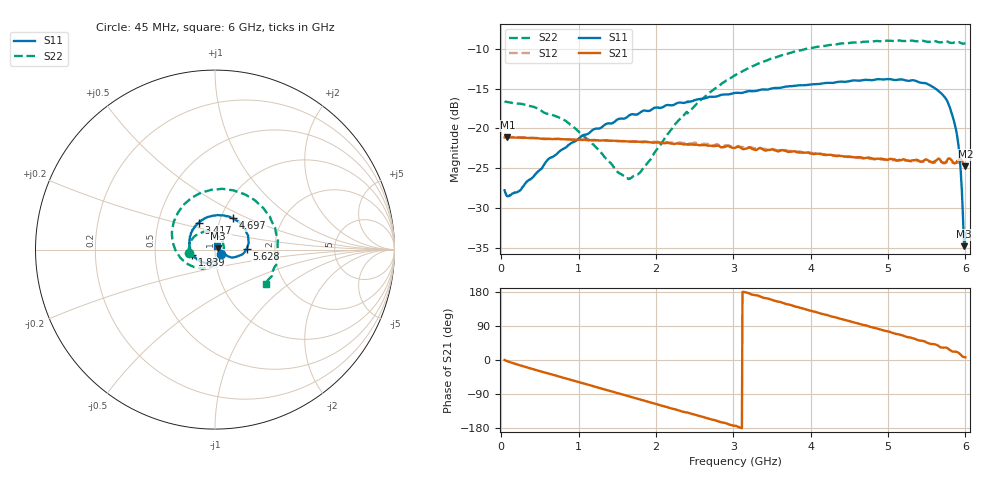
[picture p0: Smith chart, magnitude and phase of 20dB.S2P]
! C:\Users\Aljaz\OneDrive - Univerza v Ljubljani\DOKTORAT\NOVI SA\Slabilec PE43711B\meritve\20dB.S2P
! Touchstone 1.1 file saved by VNA.EXE V1.65 (www.ke5fx.com/gpib/readme.htm)
! 2. 04. 2022 19:17:16
!  Source: HP8510C.07.14: Aug 26  1998
!  Min freq: 4.500000E+007 Hz
!  Max freq: 6.000000E+009 Hz
!  Points: 801
!  Params: S11 S21 S12 S22
# GHZ S DB R 50
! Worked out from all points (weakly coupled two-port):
!   801 points, 45 MHz to 6 GHz, reference 50 ohm
!   highest |S21| = -21.11 dB at 82.22 MHz (marker M1); lowest = -24.8 dB at 6 GHz (marker M2)
!   lowest |S11| = -34.8 dB at 5.985 GHz (marker M3), VSWR 1.04, Z = 51.7 + j0.781 ohm
!   |S11| at or under -10 dB: start of sweep to end of sweep
!   |S22| runs from -26.3 to -9.0 dB; largest |S21 - S12| = 0.005
!   S11 on the Smith chart (normalised r, x): 45 MHz: 1.07, -0.05; 1.839 GHz: 0.77, -0.05; 3.417 GHz: 0.80, +0.25; 4.697 GHz: 1.14, +0.42; 5.628 GHz: 1.43, +0.01; 6 GHz: 1.02, +0.04
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0.045  -27.76 -35.5  -21.14 -0.0  -21.06 -0.0  -16.58 -173.2
0.08221875  -28.52 -32.3  -21.11 -3.5  -21.07 -3.4  -16.70 179.5
0.2385375  -27.81 -49.6  -21.17 -13.7  -21.12 -13.7  -16.91 163.3
0.7670438  -22.78 -105.2  -21.34 -44.7  -21.34 -44.7  -18.71 119.7
1.042463  -20.93 -123.6  -21.45 -60.6  -21.45 -60.5  -20.77 94.3
1.615631  -18.66 -156.5  -21.61 -93.8  -21.60 -93.1  -26.21 4.5
1.838944  -17.76 -166.8  -21.72 -106.7  -21.62 -105.7  -24.97 -47.7
2.032481  -17.39 -175.4  -21.76 -117.9  -21.68 -117.5  -22.37 -81.2
2.560987  -16.33 158.5  -22.08 -147.6  -21.98 -148.0  -16.60 -138.2
3.0225  -15.55 138.3  -22.44 -173.5  -22.30 -174.0  -13.33 -176.6
3.417019  -15.12 121.1  -22.76 163.3  -22.57 163.0  -11.54 153.4
4.019963  -14.48 94.0  -23.18 129.0  -23.07 128.1  -9.91 109.5
4.377262  -14.13 76.4  -23.44 109.3  -23.47 108.6  -9.37 84.2
4.697344  -13.91 59.9  -23.75 91.9  -23.79 91.5  -9.12 61.7
5.009981  -13.82 42.8  -23.86 75.1  -23.98 74.7  -8.99 40.0
5.627813  -15.11 0.8  -24.00 39.9  -24.26 39.7  -9.10 -4.0
5.769244  -16.65 -12.2  -23.91 31.3  -24.22 30.6  -9.10 -14.6
5.873456  -19.93 -25.6  -24.36 22.0  -24.31 22.4  -9.16 -23.9
5.925562  -23.59 -26.4  -23.84 16.8  -24.31 17.5  -9.22 -26.7
5.962781  -29.60 -15.6  -24.20 9.2  -24.48 13.5  -9.38 -30.2
5.985112  -34.77 24.4  -24.66 7.8  -24.59 11.6  -9.36 -32.7
6  -33.12 66.5  -24.76 7.1  -24.68 9.8  -9.31 -34.1
